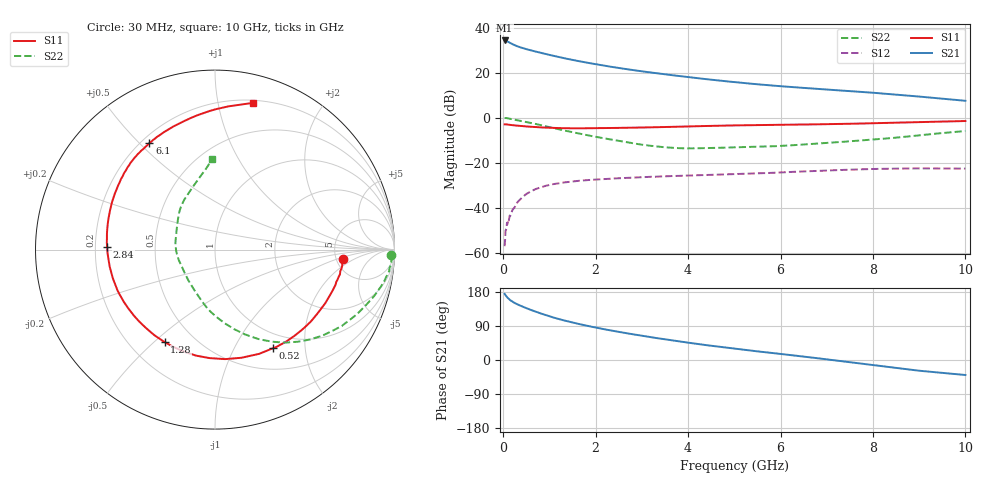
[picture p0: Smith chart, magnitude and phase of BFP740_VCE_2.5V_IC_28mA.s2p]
! Infineon Technologies  Discrete & RF Semiconductors
! BFP740
! VCE =  2.5 V,  IC =  28 mA
! Common Emitter S-Parameters:  Jan 2016
# GHz  S  MA  R  50
!  f  S11  S21  S12  S22
! GHz  MAG  ANG  MAG  ANG  MAG  ANG  MAG  ANG
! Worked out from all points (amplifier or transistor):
!   229 points, 30 MHz to 10 GHz, reference 50 ohm
!   highest |S21| = 34.3 dB at 30 MHz (marker M1)
!   |S21| within 3 dB of that: start of sweep to 361.8 MHz
!   unconditionally stable (mu >= 1): 5.859 GHz to end of sweep
!   at 280 MHz: K = 0.27, MSG = 35.2 dB, |S12| = -38.5 dB
!   at 1.78 GHz: K = 0.50, MSG = 26.2 dB, |S12| = -27.8 dB
!   at 10 GHz: K = 1.00, MAG = 14.7 dB, |S12| = -22.6 dB
!   S11 on the Smith chart (normalised r, x): 30 MHz: 5.71, -1.18; 520 MHz: 0.78, -1.45; 1.28 GHz: 0.34, -0.54; 2.84 GHz: 0.25, +0.01; 6.1 GHz: 0.23, +0.54; 10 GHz: 0.22, +1.27
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0.03  0.7129 -4.1  52.04 174.4  0.0014 100.0  0.9804 -1.9
0.07  0.7083 -9.8  50.75 167.8  0.0034 73.7  0.9774 -6.0
0.11  0.6992 -15.0  48.37 162.4  0.0055 83.0  0.9635 -9.6
0.15  0.6923 -20.0  45.91 158.0  0.0065 78.2  0.9456 -12.8
0.195  0.6837 -25.3  43.37 154.2  0.0087 77.7  0.926 -15.9
0.26  0.672 -32.6  40.43 149.6  0.0108 76.0  0.8982 -19.9
0.34  0.6613 -41.2  37.49 145.1  0.0144 71.0  0.8664 -24.8
0.52  0.6376 -59.5  32.97 135.9  0.0208 63.5  0.7962 -34.6
0.7  0.6204 -76.3  29.52 127.5  0.026 56.3  0.7273 -43.6
0.9  0.6052 -92.9  26.33 119.1  0.0303 49.9  0.6522 -52.6
1.1  0.594 -107.3  23.55 111.6  0.0337 44.3  0.5834 -60.5
1.28  0.5862 -118.6  21.41 105.6  0.036 40.5  0.5304 -66.8
1.7  0.5826 -140.6  17.54 93.3  0.0401 33.8  0.4312 -79.7
2.2  0.5894 -160.9  14.23 80.8  0.0435 28.1  0.3461 -94.2
2.84  0.6014 178.6  11.32 67.2  0.047 23.3  0.2665 -112.4
3.4  0.6179 164.0  9.49 56.4  0.0495 19.8  0.2259 -131.6
4.3  0.65 144.9  7.366 40.7  0.053 15.2  0.2103 -164.4
5.1  0.6769 132.7  6.042 28.5  0.0563 12.2  0.2211 174.0
6.1  0.6973 121.6  4.922 14.6  0.0615 8.9  0.2392 153.3
6.8  0.7133 113.6  4.368 4.7  0.0659 5.1  0.2657 141.0
8.4  0.7733 92.1  3.329 -19.4  0.0738 -6.5  0.3529 113.7
10  0.8446 75.3  2.378 -39.6  0.0741 -16.5  0.505 91.9
